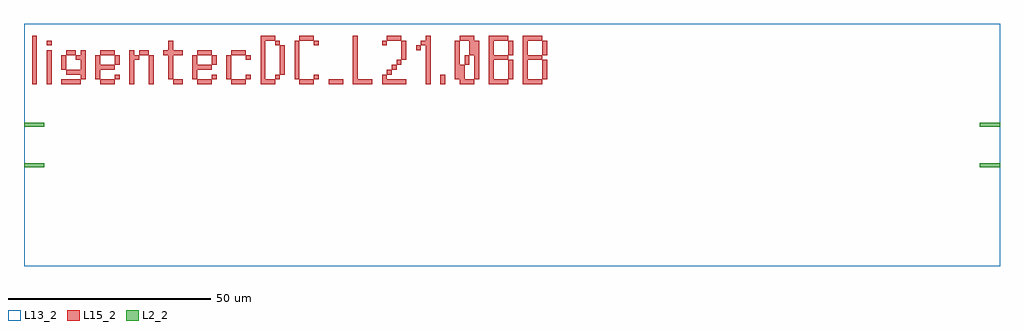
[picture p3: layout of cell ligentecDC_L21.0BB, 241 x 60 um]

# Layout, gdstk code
import gdstk
lib = gdstk.Library(unit=1e-6, precision=1e-09)
def R(c, l, rs):  # rectangles x0, y0, x1, y1
    for r in rs: c.add(gdstk.rectangle(r[:2], r[2:], *l))
def A(c, l, x, y, w, h, nx, ny, dx, dy):  # array of equal rectangles
    R(c, l, [(x+i*dx, y+j*dy, x+i*dx+w, y+j*dy+h) for i in range(nx) for j in range(ny)])
L2_2 = (2, 2)
L13_2 = (13, 2)
L15_2 = (15, 2)

ligentecdc_l21_0bb = lib.new_cell('ligentecDC_L21.0BB')
R(ligentecdc_l21_0bb, L2_2, [(-5,-0.5,0,0.5), (231,-0.5,236,0.5), (-5,9.5,0,10.5), (231,9.5,236,10.5)])
R(ligentecdc_l21_0bb, L13_2, [(-5,-25,236,35)])
A(ligentecdc_l21_0bb, L15_2, 13.8, 20, 3.6, 1.2, 1, 3, 0, 3.6)
A(ligentecdc_l21_0bb, L15_2, 37.8, 20, 3.6, 1.2, 1, 3, 0, 3.6)
A(ligentecdc_l21_0bb, L15_2, 63, 20, 3.6, 1.2, 3, 1, 7.2, 0)
R(ligentecdc_l21_0bb, L15_2, [(-3,20,-1.8,32), (0.6,20,1.8,28.4), (4.2,20,9,21.2), (21,20,22.2,28.4), (25.8,20,27,27.2), (31.8,20,34.2,21.2), (46.2,20,49.8,21.2), (53.4,20,54.6,32), (54.6,20,57,21.2), (76.2,20,77.4,32), (83.4,20,84.6,22.4), (84.6,20,89.4,21.2), (94.2,20,95.4,32), (97.8,20,99,22.4), (102.6,20,103.8,24.8), (103.8,20,106.2,21.2), (109.8,20,111,32), (111,20,114.6,21.2), (118.2,20,119.4,32), (119.4,20,123,21.2), (9,21.2,10.2,28.4), (12.6,21.2,13.8,27.2), (17.4,21.2,18.6,22.4), (30.6,21.2,31.8,30.8), (36.6,21.2,37.8,27.2), (41.4,21.2,42.6,22.4), (45,21.2,46.2,27.2), (49.8,21.2,51,22.4), (57,21.2,58.2,22.4), (61.8,21.2,63,30.8), (66.6,21.2,67.8,22.4), (101.4,21.2,102.6,30.8), (106.2,21.2,107.4,30.8), (114.6,21.2,115.8,26), (123,21.2,124.2,26), (5.4,22.4,9,23.6), (58.2,22.4,59.4,29.6), (84.6,22.4,85.8,23.6), (4.2,23.6,5.4,27.2), (85.8,23.6,87,24.8), (17.4,24.8,18.6,27.2), (41.4,24.8,42.6,27.2), (87,24.8,88.2,26), (103.8,24.8,105,27.2), (7.8,26,9,27.2), (22.2,26,23.4,27.2), (49.8,26,51,27.2), (88.2,26,89.4,30.8), (111,26,114.6,27.2), (119.4,26,123,27.2), (5.4,27.2,7.8,28.4), (23.4,27.2,25.8,28.4), (29.4,27.2,30.6,28.4), (31.8,27.2,34.2,28.4), (46.2,27.2,49.8,28.4), (105,27.2,106.2,32), (114.6,27.2,115.8,30.8), (123,27.2,124.2,30.8), (91.8,28.4,93,29.6), (0.6,29.6,1.8,30.8), (57,29.6,58.2,30.8), (66.6,29.6,67.8,30.8), (83.4,29.6,84.6,30.8), (93,29.6,94.2,30.8), (54.6,30.8,57,32), (63,30.8,66.6,32), (84.6,30.8,88.2,32), (102.6,30.8,105,32), (111,30.8,114.6,32), (119.4,30.8,123,32)])

lib.write_gds('ligentecDC_L21.0BB.gds')
